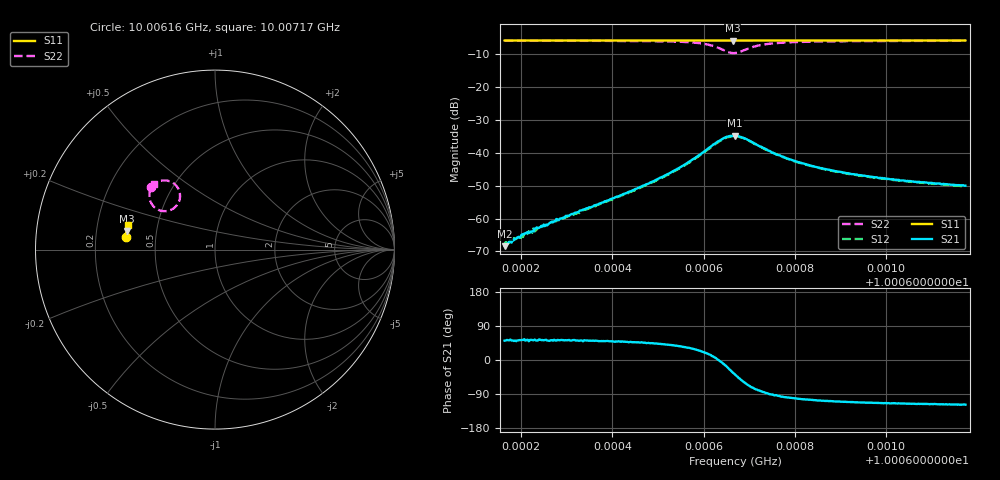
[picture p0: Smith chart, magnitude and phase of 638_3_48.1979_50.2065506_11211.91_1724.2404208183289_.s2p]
#  HZ  S  RI  R  50.00
! Rohde & Schwarz Vector Network Analyzer
! Rohde-Schwarz,ZNB20-2Port,1311601062101988,3.16
! Created: UTC 3/20/2024, 12:04:42 PM
! freq[Hz]  re:S11  im:S11  re:S21  im:S21  re:S12  im:S12  re:S22  im:S22
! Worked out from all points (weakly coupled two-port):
!   401 points, 10.00616 GHz to 10.00717 GHz, reference 50 ohm
!   highest |S21| = -34.80 dB at 10.00667 GHz (marker M1); lowest = -68.4 dB at 10.00616 GHz (marker M2)
!   lowest |S11| = -6.0 dB at 10.00666 GHz (marker M3), VSWR 3.02, Z = 16.7 + j4.58 ohm
!   |S11| at or under -10 dB: nowhere
!   |S22| runs from -9.8 to -6.0 dB; largest |S21 - S12| = 0.0014
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1.0006164e10  -0.4984 0.0709  0.000239 0.000296  0.000237 0.000311  -0.359 0.3467
1.0006189e10  -0.4983 0.0724  0.000323 0.00038  0.000257 0.000415  -0.3573 0.3486
1.0006207e10  -0.4981 0.0736  0.000338 0.000485  0.000358 0.000483  -0.356 0.35
1.0006222e10  -0.4979 0.0746  0.000377 0.000507  0.000366 0.00052  -0.355 0.3511
1.0006234e10  -0.4979 0.0755  0.000461 0.00057  0.000399 0.000553  -0.3538 0.3521
1.0006242e10  -0.4979 0.076  0.000445 0.000595  0.000437 0.000586  -0.3533 0.3526
1.0006333e10  -0.497 0.0818  0.000836 0.00104  0.000758 0.00108  -0.3447 0.3604
1.0006437e10  -0.4959 0.0886  0.00175 0.00186  0.00161 0.0019  -0.33 0.3712
1.0006502e10  -0.4954 0.093  0.003 0.00275  0.00277 0.00285  -0.3133 0.3796
1.0006558e10  -0.4945 0.0967  0.00541 0.00368  0.00511 0.00386  -0.2859 0.3856
1.0006608e10  -0.4933 0.1003  0.0108 0.00329  0.0103 0.00377  -0.2341 0.3719
1.0006644e10  -0.4923 0.1018  0.0163 -0.00296  0.016 -0.00194  -0.1949 0.3041
1.0006664e10  -0.4919 0.1025  0.0152 -0.00988  0.0156 -0.00849  -0.2167 0.2425
1.0006669e10  -0.492 0.1025  0.0143 -0.0113  0.0147 -0.0102  -0.2297 0.2305
1.0006689e10  -0.4922 0.1034  0.00854 -0.0142  0.00929 -0.0135  -0.2894 0.2145
1.0006727e10  -0.4925 0.1058  0.00156 -0.0121  0.00202 -0.0119  -0.3514 0.2521
1.0006755e10  -0.4925 0.1078  -0.000559 -0.00979  9.12e-05 -0.0097  -0.3633 0.2793
1.0006783e10  -0.4922 0.1097  -0.00125 -0.00812  -0.000789 -0.00811  -0.3657 0.2987
1.0006838e10  -0.4918 0.1136  -0.00166 -0.00604  -0.00131 -0.00607  -0.3628 0.322
1.0006914e10  -0.4909 0.1186  -0.00173 -0.00458  -0.00146 -0.00458  -0.3564 0.3398
1.0007007e10  -0.4896 0.1244  -0.00163 -0.00362  -0.00141 -0.00365  -0.349 0.3526
1.0007174e10  -0.487 0.135  -0.00148 -0.00278  -0.00131 -0.00281  -0.3378 0.3675
